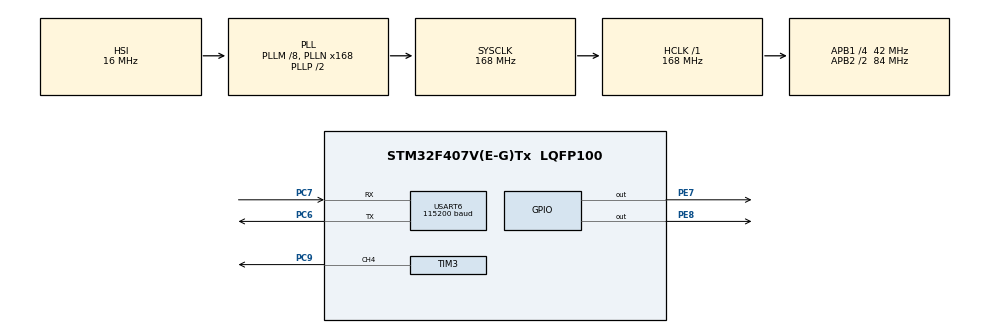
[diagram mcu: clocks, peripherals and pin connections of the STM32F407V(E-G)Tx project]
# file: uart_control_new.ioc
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Mcu.Family=STM32F4
Mcu.Name=STM32F407V(E-G)Tx
Mcu.Package=LQFP100
NVIC.PriorityGroup=NVIC_PRIORITYGROUP_4
PA13.Mode=Serial_Wire
PA13.Signal=SYS_JTMS-SWDIO
PA14.Mode=Serial_Wire
PA14.Signal=SYS_JTCK-SWCLK
PC6.Mode=Asynchronous
PC6.Signal=USART6_TX
PC7.Mode=Asynchronous
PC7.Signal=USART6_RX
PC9.Signal=S_TIM3_CH4
PE7.GPIO_PuPd=GPIO_PULLUP
PE7.GPIO_Speed=GPIO_SPEED_FREQ_VERY_HIGH
PE7.PinState=GPIO_PIN_SET
PE7.Signal=GPIO_Output
PE8.GPIO_PuPd=GPIO_PULLUP
PE8.GPIO_Speed=GPIO_SPEED_FREQ_VERY_HIGH
PE8.PinState=GPIO_PIN_SET
PE8.Signal=GPIO_Output
PH0-OSC_IN.Mode=HSE-External-Oscillator
PH0-OSC_IN.Signal=RCC_OSC_IN
PH1-OSC_OUT.Mode=HSE-External-Oscillator
PH1-OSC_OUT.Signal=RCC_OSC_OUT
ProjectManager.HeapSize=0x200
ProjectManager.StackSize=0x400
ProjectManager.TargetToolchain=CMake
RCC.48MHZClocksFreq_Value=84000000
RCC.AHBFreq_Value=168000000
RCC.APB1CLKDivider=RCC_HCLK_DIV4
RCC.APB1Freq_Value=42000000
RCC.APB1TimFreq_Value=84000000
RCC.APB2CLKDivider=RCC_HCLK_DIV2
RCC.APB2Freq_Value=84000000
RCC.APB2TimFreq_Value=168000000
RCC.CortexFreq_Value=168000000
RCC.HCLKFreq_Value=168000000
RCC.HSE_VALUE=25000000
RCC.HSI_VALUE=16000000
RCC.LSE_VALUE=32768
RCC.PLLM=8
RCC.PLLN=168
RCC.SYSCLKFreq_VALUE=168000000
RCC.SYSCLKSource=RCC_SYSCLKSOURCE_PLLCLK
RCC.VCOOutputFreq_Value=336000000
SH.S_TIM3_CH4.0=TIM3_CH4,PWM Generation4 CH4
TIM3.AutoReloadPreload=TIM_AUTORELOAD_PRELOAD_ENABLE
TIM3.Channel-PWM\ Generation4\ CH4=TIM_CHANNEL_4
TIM3.Period=19999
TIM3.Prescaler=83
USART6.BaudRate=115200
USART6.VirtualMode=VM_ASYNC
VP_TIM3_VS_ClockSourceINT.Mode=Internal
board=custom

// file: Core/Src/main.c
/* USER CODE BEGIN Header */
/**
  ******************************************************************************
  * @file           : main.c
  * @brief          : Main program body
  ******************************************************************************
  * @attention
  *
  * Copyright (c) 2026 STMicroelectronics.
  * All rights reserved.
  *
  * This software is licensed under terms that can be found in the LICENSE file
  * in the root directory of this software component.
  * If no LICENSE file comes with this software, it is provided AS-IS.
  *
  ******************************************************************************
  */
/* USER CODE END Header */
#include "main.h"

/* USER CODE BEGIN Includes */
#include "3bsd_kinematics.h"
#include <math.h>
/* USER CODE END Includes */

/* USER CODE BEGIN PTD */
typedef struct {
  float current_angle; // 当前累积的角度（度）
  int16_t total_turns; // 累计圈数
  uint8_t is_ok;       // 读取是否成功标志：1成功，0失败
} Servo_Feedback_t;
/* USER CODE END PTD */

/* USER CODE BEGIN PD */
/* 齿轮减速传动比 (1 : 8.25)，写在私有宏定义区 */
#define GEAR_REDUCTION_RATIO   8.25
/* USER CODE END PD */

TIM_HandleTypeDef htim3;

UART_HandleTypeDef huart6;

/* USER CODE BEGIN PV */
/* 定义变量存储解算出的三个舵机/轴承目标角度 */
double target_w1 = 0.0;
double target_w2 = 0.0;
double target_w3 = 0.0;
/* 定义变量存储经传动比换算后，实际发给舵机的控制角度 */
float servo_cmd_angle0 = 0.0f;
float servo_cmd_angle1 = 0.0f;
float servo_cmd_angle2 = 0.0f;
/* USER CODE END PV */

void SystemClock_Config(void);
static void MX_GPIO_Init(void);
static void MX_USART6_UART_Init(void);
static void MX_TIM3_Init(void);
/* USER CODE BEGIN PFP */
void Servo_Write_Command(uint8_t id, uint8_t cmd, const uint8_t *params, uint8_t param_len);
void Servo_Set_Multi_Turn_Position(uint8_t id, float target_angle_deg, uint32_t time_ms, uint16_t power_mw);
Servo_Feedback_t Servo_Read_Multi_Turn_Position(uint8_t id);
void Servo_Sync_Set_Multi_Turn_Position_3CH(float angle0, float angle1, float angle2, uint32_t time_ms, uint16_t power_mw);
void ESC_SetPower(float target_power_watts);  // <--- 加在函数声明区
/* USER CODE END PFP */

int main(void)
{

  /* MCU Configuration--------------------------------------------------------*/

  /* Reset of all peripherals, Initializes the Flash interface and the Systick. */
  HAL_Init();

  /* Configure the system clock */
  SystemClock_Config();

  /* Initialize all configured peripherals */
  MX_GPIO_Init();
  MX_USART6_UART_Init();
  MX_TIM3_Init();
  /* USER CODE BEGIN 2 */
  HAL_GPIO_WritePin(GPIOE, GPIO_PIN_7, GPIO_PIN_SET); // 关闭发送通道
  HAL_GPIO_WritePin(GPIOE, GPIO_PIN_8, GPIO_PIN_SET); // 关闭接收通道
  HAL_TIM_PWM_Start(&htim3, TIM_CHANNEL_4);
  // 2. 初始给 0W 待机（等待电调上电解锁完成，延时 3~5 秒）
  ESC_SetPower(0.0f);
  HAL_Delay(3000);
  //ESC_SetPower(30.0f);

  // 测试参数：截面倾角 24度，期望下偏 60度，侧偏 10度
  double input_dN = 30.0;
  double input_dNy = 0.0;
  double param_theta = 26.25;
  //Servo_Set_Multi_Turn_Position(2, 0.0f, 3000, 0);
  //HAL_Delay(3500); // 等待旋转完成
  // 2. 调用逆运动学解算算法
  if (solveInverseKinematics(input_dN, input_dNy, param_theta, &target_w1, &target_w2, &target_w3))
  {
    // 3. 核心计算：考虑 1:8.25 传动比，换算为舵机实际目标角度
    // 假设：舵机ID 0 控制第1级轴承 (w1), ID 1 控制第2级 (w2), ID 2 控制第3级 (w3)
    servo_cmd_angle0 = (float)(target_w1 * GEAR_REDUCTION_RATIO);
    servo_cmd_angle1 = (float)(target_w2 * GEAR_REDUCTION_RATIO);
    servo_cmd_angle2 = (float)(target_w3 * GEAR_REDUCTION_RATIO);

    // 4. 三通道同步下发控制指令给总线舵机（3000ms内运动到位）
    Servo_Sync_Set_Multi_Turn_Position_3CH(servo_cmd_angle0, servo_cmd_angle2, servo_cmd_angle1, 3000, 0);
  }
  HAL_Delay(3500);
  /* USER CODE END 2 */

  /* Infinite loop */
  /* USER CODE BEGIN WHILE */
  Servo_Feedback_t servos_data[3];
  while (1)
  {
    /* USER CODE END WHILE */
    // 依次轮询读取 ID 0, 1, 2
    for (uint8_t id = 0; id < 3; id++)
    {
      servos_data[id] = Servo_Read_Multi_Turn_Position(id);

      // 读完一个舵机后，稍微延时 5ms 腾出总线空闲，避免发包太密产生冲突
      HAL_Delay(5);
    }

    // 整个大循环周期延时（可根据业务需求调整）
    HAL_Delay(100);
  }
}

void SystemClock_Config(void)
{
  RCC_OscInitTypeDef RCC_OscInitStruct = {0};
  RCC_ClkInitTypeDef RCC_ClkInitStruct = {0};

  /** Configure the main internal regulator output voltage
  */
  __HAL_RCC_PWR_CLK_ENABLE();
  __HAL_PWR_VOLTAGESCALING_CONFIG(PWR_REGULATOR_VOLTAGE_SCALE1);

  /** Initializes the RCC Oscillators according to the specified parameters
  * in the RCC_OscInitTypeDef structure.
  */
  RCC_OscInitStruct.OscillatorType = RCC_OSCILLATORTYPE_HSI;
  RCC_OscInitStruct.HSIState = RCC_HSI_ON;
  RCC_OscInitStruct.HSICalibrationValue = RCC_HSICALIBRATION_DEFAULT;
  RCC_OscInitStruct.PLL.PLLState = RCC_PLL_ON;
  RCC_OscInitStruct.PLL.PLLSource = RCC_PLLSOURCE_HSI;
  RCC_OscInitStruct.PLL.PLLM = 8;
  RCC_OscInitStruct.PLL.PLLN = 168;
  RCC_OscInitStruct.PLL.PLLP = RCC_PLLP_DIV2;
  RCC_OscInitStruct.PLL.PLLQ = 4;
  if (HAL_RCC_OscConfig(&RCC_OscInitStruct) != HAL_OK)
  {
    Error_Handler();
  }

  /** Initializes the CPU, AHB and APB buses clocks
  */
  RCC_ClkInitStruct.ClockType = RCC_CLOCKTYPE_HCLK|RCC_CLOCKTYPE_SYSCLK
                              |RCC_CLOCKTYPE_PCLK1|RCC_CLOCKTYPE_PCLK2;
  RCC_ClkInitStruct.SYSCLKSource = RCC_SYSCLKSOURCE_PLLCLK;
  RCC_ClkInitStruct.AHBCLKDivider = RCC_SYSCLK_DIV1;
  RCC_ClkInitStruct.APB1CLKDivider = RCC_HCLK_DIV4;
  RCC_ClkInitStruct.APB2CLKDivider = RCC_HCLK_DIV2;

  if (HAL_RCC_ClockConfig(&RCC_ClkInitStruct, FLASH_LATENCY_5) != HAL_OK)
  {
    Error_Handler();
  }
}

static void MX_TIM3_Init(void)
{

  TIM_ClockConfigTypeDef sClockSourceConfig = {0};
  TIM_MasterConfigTypeDef sMasterConfig = {0};
  TIM_OC_InitTypeDef sConfigOC = {0};

  htim3.Instance = TIM3;
  htim3.Init.Prescaler = 83;
  htim3.Init.CounterMode = TIM_COUNTERMODE_UP;
  htim3.Init.Period = 19999;
  htim3.Init.ClockDivision = TIM_CLOCKDIVISION_DIV1;
  htim3.Init.AutoReloadPreload = TIM_AUTORELOAD_PRELOAD_ENABLE;
  if (HAL_TIM_Base_Init(&htim3) != HAL_OK)
  {
    Error_Handler();
  }
  sClockSourceConfig.ClockSource = TIM_CLOCKSOURCE_INTERNAL;
  if (HAL_TIM_ConfigClockSource(&htim3, &sClockSourceConfig) != HAL_OK)
  {
    Error_Handler();
  }
  if (HAL_TIM_PWM_Init(&htim3) != HAL_OK)
  {
    Error_Handler();
  }
  sMasterConfig.MasterOutputTrigger = TIM_TRGO_RESET;
  sMasterConfig.MasterSlaveMode = TIM_MASTERSLAVEMODE_DISABLE;
  if (HAL_TIMEx_MasterConfigSynchronization(&htim3, &sMasterConfig) != HAL_OK)
  {
    Error_Handler();
  }
  sConfigOC.OCMode = TIM_OCMODE_PWM1;
  sConfigOC.Pulse = 0;
  sConfigOC.OCPolarity = TIM_OCPOLARITY_HIGH;
  sConfigOC.OCFastMode = TIM_OCFAST_DISABLE;
  if (HAL_TIM_PWM_ConfigChannel(&htim3, &sConfigOC, TIM_CHANNEL_4) != HAL_OK)
  {
    Error_Handler();
  }
  HAL_TIM_MspPostInit(&htim3);

}

static void MX_USART6_UART_Init(void)
{

  huart6.Instance = USART6;
  huart6.Init.BaudRate = 115200;
  huart6.Init.WordLength = UART_WORDLENGTH_8B;
  huart6.Init.StopBits = UART_STOPBITS_1;
  huart6.Init.Parity = UART_PARITY_NONE;
  huart6.Init.Mode = UART_MODE_TX_RX;
  huart6.Init.HwFlowCtl = UART_HWCONTROL_NONE;
  huart6.Init.OverSampling = UART_OVERSAMPLING_16;
  if (HAL_UART_Init(&huart6) != HAL_OK)
  {
    Error_Handler();
  }

}

static void MX_GPIO_Init(void)
{
  GPIO_InitTypeDef GPIO_InitStruct = {0};

  /* GPIO Ports Clock Enable */
  __HAL_RCC_GPIOH_CLK_ENABLE();
  __HAL_RCC_GPIOE_CLK_ENABLE();
  __HAL_RCC_GPIOC_CLK_ENABLE();
  __HAL_RCC_GPIOA_CLK_ENABLE();

  /*Configure GPIO pin Output Level */
  HAL_GPIO_WritePin(GPIOE, GPIO_PIN_7|GPIO_PIN_8, GPIO_PIN_SET);

  /*Configure GPIO pins : PE7 PE8 */
  GPIO_InitStruct.Pin = GPIO_PIN_7|GPIO_PIN_8;
  GPIO_InitStruct.Mode = GPIO_MODE_OUTPUT_PP;
  GPIO_InitStruct.Pull = GPIO_PULLUP;
  GPIO_InitStruct.Speed = GPIO_SPEED_FREQ_VERY_HIGH;
  HAL_GPIO_Init(GPIOE, &GPIO_InitStruct);

}

/* USER CODE BEGIN 4 */
/**
  * @brief  新协议通用发送函数
  * @param  id: 舵机ID
  * @param  cmd: 指令编号（如 0x0D）
  * @param  params: 参数数组指针
  * @param  param_len: 参数长度
  */
void Servo_Write_Command(uint8_t id, uint8_t cmd, const uint8_t *params, uint8_t param_len)
{
  uint8_t buf[32];

  uint8_t length = param_len + 1;

  buf[0] = 0x12;     // 固定标识高字节
  buf[1] = 0x4c;     // 固定标识低字节
  buf[2] = cmd;      // 指令编号
  buf[3] = length;   // 长度
  buf[4] = id;       // 舵机 ID

  // 装载参数
  for (uint8_t i = 0; i < param_len; i++) {
    buf[5 + i] = params[i];
  }

  // 计算校验和：∑(Byte[0..14]) % 256，即除了最后一字节校验和以外的所有字节求和
  uint32_t sum = 0;
  uint8_t total_len = param_len + 5; // 帧头2 + cmd1 + len1 + id1 + params_len
  for (uint8_t i = 0; i < total_len; i++) {
    sum += buf[i];
  }
  buf[total_len] = (uint8_t)(sum % 256); // 写入校验码

  // 硬件控制：切换为发送状态
  HAL_GPIO_WritePin(GPIOE, GPIO_PIN_8, GPIO_PIN_SET);   // 关接收
  HAL_GPIO_WritePin(GPIOE, GPIO_PIN_7, GPIO_PIN_RESET); // 开发送

  // 发送数据包
  HAL_UART_Transmit(&huart6, buf, total_len + 1, 100);

  // 死等发送完成
  while(__HAL_UART_GET_FLAG(&huart6, UART_FLAG_TC) == RESET);

  // 延时等电平物理飘完
  for(volatile uint32_t i = 0; i < 200; i++);

  // 恢复为默认接收状态
  HAL_GPIO_WritePin(GPIOE, GPIO_PIN_7, GPIO_PIN_SET);   // 关发送
}

/**
  * @brief  控制舵机多圈旋转到指定角度
  * @param  id: 舵机ID
  * @param  target_angle_deg: 目标角度（支持正负、多圈，例如 720.0 度，传参 720.0）
  * @param  time_ms: 运动时间
  * @param  power_mw: 执行功率（传 0 时按照最大执行功率运行）
  */
void Servo_Set_Multi_Turn_Position(uint8_t id, float target_angle_deg, uint32_t time_ms, uint16_t power_mw)
{
  uint8_t params[10]; // position(4) + time(4) + power(2) = 10 字节

  // 1. 转换角度单位：图纸要求单位为 0.1°，int32_t 类型
  int32_t pos_val = (int32_t)(target_angle_deg * 10.0f);

  // 拆分到 params [0~3] (低字节在前，小端模式)
  params[0] = (uint8_t)(pos_val & 0xFF);
  params[1] = (uint8_t)((pos_val >> 8) & 0xFF);
  params[2] = (uint8_t)((pos_val >> 16) & 0xFF);
  params[3] = (uint8_t)((pos_val >> 24) & 0xFF);

  // 2. 转换时间：uint32_t 类型，拆分到 params [4~7]
  params[4] = (uint8_t)(time_ms & 0xFF);
  params[5] = (uint8_t)((time_ms >> 8) & 0xFF);
  params[6] = (uint8_t)((time_ms >> 16) & 0xFF);
  params[7] = (uint8_t)((time_ms >> 24) & 0xFF);

  // 3. 转换功率：uint16_t 类型，拆分到 params [8~9]
  params[8] = (uint8_t)(power_mw & 0xFF);
  params[9] = (uint8_t)((power_mw >> 8) & 0xFF);

  // 调用发送：参数长度为 10
  Servo_Write_Command(id, 0x0D, params, 10);
}

/**
  * @brief  读取舵机当前的多圈角度信息
  * @param  id: 舵机ID
  * @retval 包含角度和圈数的结构体
  */
Servo_Feedback_t Servo_Read_Multi_Turn_Position(uint8_t id)
{
  Servo_Feedback_t result = {0.0f, 0, 0};
  uint8_t send_buf[6];
  uint8_t recv_buf[12] = {0}; // 回包总长度 12 字节（帧头2 + cmd1 + len1 + id1 + pos4 + turn2 + checksum1）

  // 1. 组装读取包：指令0x10，参数长0，Length = 1(id自身)
  send_buf[0] = 0x12;
  send_buf[1] = 0x4c;
  send_buf[2] = 0x10; // cmd_id
  send_buf[3] = 0x01; // length
  send_buf[4] = id;   // servo_id
  send_buf[5] = (uint8_t)((0x12 + 0x4c + 0x10 + 0x01 + id) % 256); // 校验和

  // 2. 硬件控制切换并发送
  HAL_GPIO_WritePin(GPIOE, GPIO_PIN_8, GPIO_PIN_SET);
  HAL_GPIO_WritePin(GPIOE, GPIO_PIN_7, GPIO_PIN_RESET);
  HAL_UART_Transmit(&huart6, send_buf, 6, 10);

  while(__HAL_UART_GET_FLAG(&huart6, UART_FLAG_TC) == RESET);
  for(volatile uint32_t i = 0; i < 200; i++);

  // 3. 切换到接收状态并收取 12 字节
  HAL_GPIO_WritePin(GPIOE, GPIO_PIN_7, GPIO_PIN_SET);
  HAL_GPIO_WritePin(GPIOE, GPIO_PIN_8, GPIO_PIN_RESET);

  if (HAL_UART_Receive(&huart6, recv_buf, 12, 50) == HAL_OK)
  {
    // 4. 校验响应包
    uint32_t sum = 0;
    for (uint8_t i = 0; i < 11; i++) {
      sum += recv_buf[i];
    }

    // 核对响应帧头 (0x05 0x1C) 以及校验和
    if (recv_buf[0] == 0x05 && recv_buf[1] == 0x1C && recv_buf[11] == (uint8_t)(sum % 256))
    {
      // 5. 解析数据 (小端模式组合)
      int32_t raw_position = (int32_t)(recv_buf[5] | (recv_buf[6] << 8) | (recv_buf[7] << 16) | (recv_buf[8] << 24));
      int16_t raw_turns = (int16_t)(recv_buf[9] | (recv_buf[10] << 8));

      // 转化为可读的浮点角度度数 (图纸说明：需除以10.0)
      result.current_angle = (float)raw_position / 10.0f;
      result.total_turns = raw_turns;
      result.is_ok = 1; // 成功
      return result;
    }
  }

  return result; // 失败返回全0
}

/**
  * @brief  同步控制三个舵机（ID:0, 1, 2）的多圈旋转角度（基于时间）
  * @param  angle0/1/2: 目标角度（支持正负、多圈，例如 720.0 度，传参 720.0）
  * @param  time_ms: 运动时间（三个舵机统一运动时间）
  * @param  power_mw: 执行功率（传 0 时按照最大执行功率运行）
  */
void Servo_Sync_Set_Multi_Turn_Position_3CH(float angle0, float angle1, float angle2, uint32_t time_ms, uint16_t power_mw)
{
  uint8_t buf[64]; // 36字节数据，开辟64字节缓冲区
  float angles[3] = {angle0, angle1, angle2};

  // 1. 外层固定协议头
  buf[0] = 0x12;     // 固定标识
  buf[1] = 0x4c;     // 固定标识
  buf[2] = 0x19;     // 同步写指令 0x19

  // 【精准计算】：内层11字节 * 3个舵机 + 3 = 36 字节
  buf[3] = 36;

  // 2. 内层配置（严格对齐 0x0D 简易多圈指令）
  buf[4] = 0x0D;     // 内层核心指令：简易多圈角度控制 (0x0D)
  buf[5] = 11;       // 内层单机长度：严格填 11
  buf[6] = 0x03;     // 舵机个数：3个

  // 3. 循环装载 3 个舵机的数据，从 buf[7] 开始
  uint8_t base_idx = 7;

  for (uint8_t id = 0; id < 3; id++)
  {
    buf[base_idx++] = id; // 写入舵机 ID（0, 1, 2）

    // position: 目标位置（4 字节 int32_t，单位0.1°，小端模式）
    int32_t pos_val = (int32_t)(angles[id] * 10.0f);
    buf[base_idx++] = (uint8_t)(pos_val & 0xFF);
    buf[base_idx++] = (uint8_t)((pos_val >> 8) & 0xFF);
    buf[base_idx++] = (uint8_t)((pos_val >> 16) & 0xFF);
    buf[base_idx++] = (uint8_t)((pos_val >> 24) & 0xFF);

    // time: 运动时间（4 字节 uint32_t，单位ms，小端模式）
    buf[base_idx++] = (uint8_t)(time_ms & 0xFF);
    buf[base_idx++] = (uint8_t)((time_ms >> 8) & 0xFF);
    buf[base_idx++] = (uint8_t)((time_ms >> 16) & 0xFF);
    buf[base_idx++] = (uint8_t)((time_ms >> 24) & 0xFF);

    // power: 执行功率（2 字节 uint16_t，小端模式）
    buf[base_idx++] = (uint8_t)(power_mw & 0xFF);
    buf[base_idx++] = (uint8_t)((power_mw >> 8) & 0xFF);
  }

  // 4. 计算整体校验和
  uint32_t sum = 0;
  for (uint8_t i = 0; i < base_idx; i++) {
    sum += buf[i];
  }
  buf[base_idx] = (uint8_t)(sum % 256); // 写入最后一字节校验码

  // 5. 硬件切换为发送状态
  HAL_GPIO_WritePin(GPIOE, GPIO_PIN_8, GPIO_PIN_SET);
  HAL_GPIO_WritePin(GPIOE, GPIO_PIN_7, GPIO_PIN_RESET);

  // 6. 串口发送（总长 base_idx + 1 字节）
  HAL_UART_Transmit(&huart6, buf, base_idx + 1, 200);

  // 等待硬件发送完毕
  while(__HAL_UART_GET_FLAG(&huart6, UART_FLAG_TC) == RESET);
  for(volatile uint32_t i = 0; i < 200; i++);

  // 恢复默认接收状态
  HAL_GPIO_WritePin(GPIOE, GPIO_PIN_7, GPIO_PIN_SET);
  HAL_GPIO_WritePin(GPIOE, GPIO_PIN_8, GPIO_PIN_RESET); // 👈 加上这一行：开接收
}

/**
  * @brief  根据目标功率精确输出 PWM
  * @param  target_power_watts: 期望的功率值（单位：W，范围 0 ~ 600W）
  */
void ESC_SetPower(float target_power_watts)
{
  // 1. 安全死限幅：强行限制最大允许输入功率为 600W
  if (target_power_watts < 0.0f)   target_power_watts = 0.0f;
  if (target_power_watts > 600.0f) target_power_watts = 600.0f; // 严格止步于 600W

  // 2. 根据 P ∝ (Throttle)^3 反算油门百分比
  // P_max 为满功率 6500W
  float throttle_ratio = powf(target_power_watts / 6500.0f, 1.0f / 3.0f);

  // 3. 将 0.0~1.0 的油门比例映射至 CCR 比较值 (1000 ~ 2000)
  uint16_t ccr_value = (uint16_t)(1000.0f + throttle_ratio * 1000.0f);

  // 4. 写入定时器
  __HAL_TIM_SET_COMPARE(&htim3, TIM_CHANNEL_4, ccr_value);
}
/* USER CODE END 4 */

void Error_Handler(void)
{
  __disable_irq();
  while (1)
  {
  }
}
